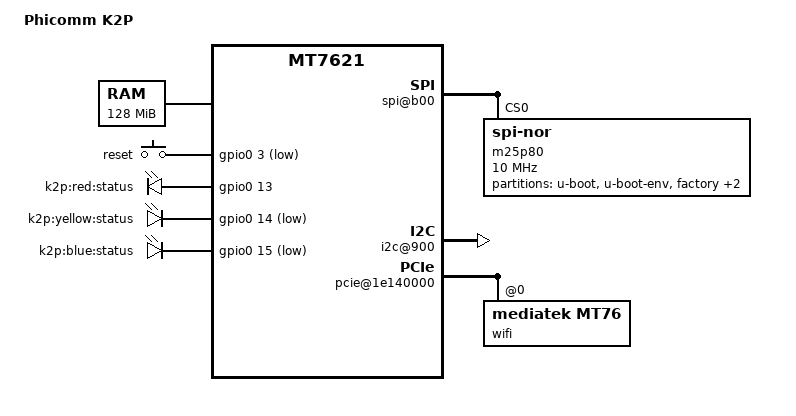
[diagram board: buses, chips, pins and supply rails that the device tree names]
/dts-v1/;

/include/ "mt7621.dtsi"

/ {
	compatible = "phicomm,k2p", "mediatek,mt7621-soc";
	model = "Phicomm K2P";

	memory@0 {
		device_type = "memory";
		reg = <0x0 0x8000000>;
	};

	chosen {
		bootargs = "console=ttyS0,57600";
	};

	palmbus@1E000000 {
		spi@b00 {
			status = "okay";

			m25p80@0 {
				#address-cells = <1>;
				#size-cells = <1>;
				compatible = "jedec,spi-nor";
				reg = <0 0>;
				spi-max-frequency = <10000000>;

				partition@0 {
					label = "u-boot";
					reg = <0x0 0x30000>;
				};

				partition@30000 {
					label = "u-boot-env";
					reg = <0x30000 0x10000>;
				};

				factory: partition@40000 {
					label = "factory";
					reg = <0x40000 0x10000>;
				};

				partition@50000 {
					label = "permanent_config";
					reg = <0x50000 0x50000>;
				};

				partition@a0000 {
					label = "firmware";
					reg = <0xa0000 0xf60000>;
				};
			};
		};

		i2c@900 {
			compatible = "ralink,i2c-mt7621";
			reg = <0x900 0x100>;
			#address-cells = <1>;
			#size-cells = <0>;
			pinctrl-names = "default";
			pinctrl-0 = <&i2c_pins>;
			status = "okay";
		};
	};

	pcie@1e140000 {
		status = "okay";

		pcie0 {
			wifi@0,0 {
				compatible = "mediatek,mt76";
				reg = <0x0000 0 0 0 0>;
				device_type = "pci";
				mediatek,mtd-eeprom = <&factory 0x0>;
			};
		};
	};

	ethernet@1e100000 {
		mtd-mac-address = <&factory 0xe006>;
	};

	gpio-keys-polled {
		compatible = "gpio-keys-polled";
		#address-cells = <1>;
		#size-cells = <0>;
		poll-interval = <20>;

		reset {
			label = "reset";
			gpios = <&gpio0 3 1>;
			linux,code = <0x198>;
		};
	};

	gpio-leds {
		compatible = "gpio-leds";

		led_red {
			label = "k2p:red:status";
			gpios = <&gpio0 13 0>;
		};

		led_yellow {
			label = "k2p:yellow:status";
			gpios = <&gpio0 14 1>;
		};

		led_blue {
			label = "k2p:blue:status";
			gpios = <&gpio0 15 1>;
		};
	};

	pinctrl {
		state_default: pinctrl0 {
			gpio {
				ralink,group = "i2c", "jtag";
				ralink,function = "gpio";
			};
		};
	};
};
